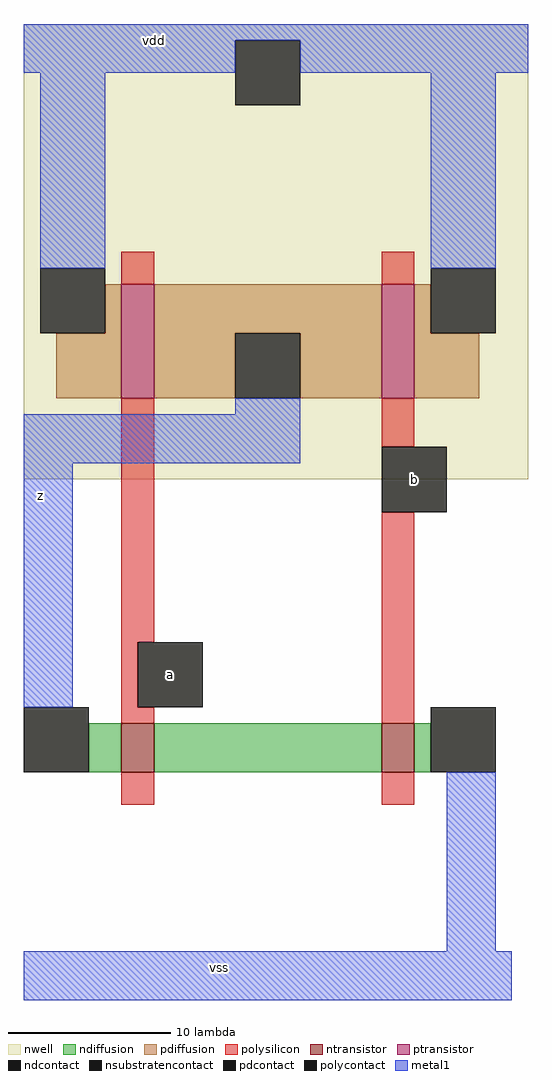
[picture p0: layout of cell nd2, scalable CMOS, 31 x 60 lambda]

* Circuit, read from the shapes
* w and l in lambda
.subckt nd2 a b vdd vss z
M1 n1 a z VSUBS nfet w=3 l=2
M2 vss b n1 VSUBS nfet w=3 l=2
M3 z a vdd vdd pfet w=7 l=2
M4 vdd b z vdd pfet w=7 l=2
.ends

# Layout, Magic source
magic
tech scmos
<< nwell >>
rect 10 21 41 49
<< polysilicon >>
rect 16 33 18 35
rect 32 33 34 35
rect 16 11 18 26
rect 32 23 34 26
rect 16 7 17 11
rect 16 6 18 7
rect 32 6 34 19
rect 16 1 18 3
rect 32 1 34 3
<< ndiffusion >>
rect 14 3 16 6
rect 18 3 32 6
rect 34 3 35 6
<< pdiffusion >>
rect 15 30 16 33
rect 12 26 16 30
rect 18 30 32 33
rect 18 26 23 30
rect 27 26 32 30
rect 34 30 35 33
rect 34 26 38 30
<< metal1 >>
rect 10 48 41 49
rect 10 46 23 48
rect 11 34 15 46
rect 27 46 41 48
rect 35 34 39 46
rect 23 25 27 26
rect 10 22 27 25
rect 10 7 13 22
rect 36 -8 39 3
rect 10 -11 40 -8
<< ntransistor >>
rect 16 3 18 6
rect 32 3 34 6
<< ptransistor >>
rect 16 26 18 33
rect 32 26 34 33
<< polycontact >>
rect 32 19 36 23
rect 17 7 21 11
<< ndcontact >>
rect 10 3 14 7
rect 35 3 39 7
<< pdcontact >>
rect 11 30 15 34
rect 23 26 27 30
rect 35 30 39 34
<< nsubstratencontact >>
rect 23 44 27 48
<< labels >>
rlabel metal1 11 20 11 20 3 z
rlabel polycontact 34 21 34 21 1 b
rlabel polycontact 19 9 19 9 1 a
rlabel metal1 22 -9 22 -9 1 vss
rlabel metal1 18 48 18 48 5 vdd
<< end >>
